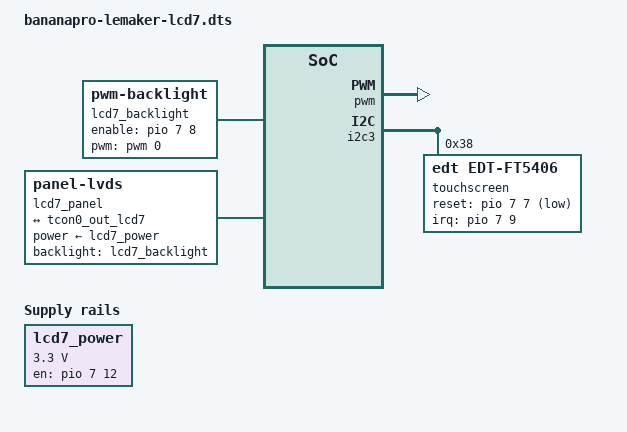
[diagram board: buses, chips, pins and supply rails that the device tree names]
// SPDX-License-Identifier: GPL-2.0
/*
 * Nakladka Device Tree: LeMaker 7" LVDS 1024x600 + dotyk FT5x06
 * Plyta: LeMaker Banana Pro (Allwinner A20), jadro mainline (Armbian current/edge)
 *
 * Zrodlo parametrow: fex/banana_pro_7lcd.fex z LeMaker/fex_configuration
 *
 * Instalacja na Armbian:
 *   sudo armbian-add-overlay bananapro-lemaker-lcd7.dts
 *   reboot
 *
 * Status: obraz i dotyk sprawdzone na sprzecie (2026-10-26), dotyk wymaga
 * uslugi lemaker-touch-retry (armbian-build/), opis w README.
 */

/dts-v1/;
/plugin/;

/*
 * CO: liczby zamiast nazw z #include (GPIO_ACTIVE_HIGH itp.).
 * DLACZEGO: armbian-add-overlay kompiluje plik samym dtc, bez preprocesora,
 * wiec #include i makra by sie nie rozwinely.
 *
 * Sciaga:  bank H = 7,  GPIO_ACTIVE_HIGH = 0,  IRQ_TYPE_EDGE_FALLING = 2
 *          PWM: <&pwm kanal okres_ns polaryzacja>, 0 = normalna
 */

&{/} {
	/*
	 * CO: zasilanie matrycy, w fex: lcd_power = PH12.
	 * DLACZEGO: sterownik panelu wlacza zasilanie przez regulator,
	 * nie przez goly pin GPIO, wiec owijamy PH12 w "regulator-fixed".
	 */
	lcd7_power: lcd7-power {
		compatible = "regulator-fixed";
		regulator-name = "lcd7-power";
		regulator-min-microvolt = <3300000>;
		regulator-max-microvolt = <3300000>;
		gpio = <&pio 7 12 0>;		/* PH12 */
		enable-active-high;
	};

	/*
	 * CO: podswietlenie, PWM0 na PB2 + pin wlaczajacy PH8 (lcd_bl_en w fex).
	 * DLACZEGO okres 50000 ns (20 kHz): fex mial 22 kHz, roznica jest
	 * niezauwazalna, a 20 kHz to typowa i pewna wartosc dla sun4i-pwm.
	 * Jesli podswietlenie dziala "odwrotnie" (0 = najjasniej),
	 * zmien ostatnia liczbe w pwms z 0 na 1.
	 */
	lcd7_backlight: lcd7-backlight {
		compatible = "pwm-backlight";
		pwms = <&pwm 0 50000 0>;
		brightness-levels = <0 255>;
		num-interpolated-steps = <255>;
		default-brightness-level = <200>;
		enable-gpios = <&pio 7 8 0>;	/* PH8 */
	};

	/*
	 * CO: opis matrycy LVDS z timingami przeliczonymi z fex.
	 * DLACZEGO "panel-lvds": sterownik TCON w A20 wlacza tryb LVDS
	 * tylko wtedy, gdy podlaczony panel ma wlasnie ten compatible.
	 * Z kazdym innym probuje wyjscia rownoleglego RGB.
	 */
	lcd7_panel: lcd7-panel {
		compatible = "panel-lvds";
		width-mm = <154>;
		height-mm = <86>;
		/* fex: lcd_lvds_mode = 0 (tryb NS = VESA), lcd_lvds_bitwidth = 0 (24 bit) */
		data-mapping = "vesa-24";
		power-supply = <&lcd7_power>;
		backlight = <&lcd7_backlight>;

		/*
		 * CO: timingi obrazu.
		 * DLACZEGO takie liczby: w fex "hbp" i "vbp" zawieraja juz szerokosc
		 * impulsu sync, a "vt" jest podwojone (stara konwencja Allwinnera).
		 *   hback = hbp - hspw = 150 - 50 = 100
		 *   hfront = ht - x - hbp = 1344 - 1024 - 150 = 170
		 *   vt = 1270 / 2 = 635
		 *   vback = vbp - vspw = 20 - 10 = 10
		 *   vfront = 635 - 600 - 20 = 15
		 * Wynik ~64 Hz, zgodny z konfiguracja U-Boot z forum Armbian.
		 */
		panel-timing {
			clock-frequency = <55000000>;
			hactive = <1024>;
			vactive = <600>;
			hfront-porch = <170>;
			hback-porch = <100>;
			hsync-len = <50>;
			vfront-porch = <15>;
			vback-porch = <10>;
			vsync-len = <10>;
		};

		port {
			lcd7_panel_in: endpoint {
				remote-endpoint = <&tcon0_out_lcd7>;
			};
		};
	};
};

/*
 * CO: piny PD0-PD9 w trybie LVDS0 dla kontrolera TCON0.
 * DLACZEGO: grupa "lcd_lvds0_pins" juz istnieje w sun7i-a20.dtsi,
 * wystarczy ja przypisac (w fex to byly piny PD00-PD09 z funkcja <3>).
 */
&tcon0 {
	pinctrl-names = "default";
	pinctrl-0 = <&lcd_lvds0_pins>;
};

/*
 * CO: polaczenie TCON0 -> panel.
 * DLACZEGO endpoint@0: sterownik szuka panelu dokladnie na porcie 1,
 * endpoincie 0. Endpoint@1 jest zajety przez HDMI w pliku bazowym.
 */
&tcon0_out {
	#address-cells = <1>;
	#size-cells = <0>;

	tcon0_out_lcd7: endpoint@0 {
		reg = <0>;
		remote-endpoint = <&lcd7_panel_in>;
	};
};

/* CO: wlaczenie kontrolera PWM i przypisanie pinu PB2 do kanalu 0. */
&pwm {
	pinctrl-names = "default";
	pinctrl-0 = <&pwm0_pin>;
	status = "okay";
};

/*
 * CO: dotyk pojemnosciowy FocalTech na I2C3 (piny PI0/PI1 na zlaczu LCD).
 * Z fex: ctp_twi_id = 3, adres 0x38, przerwanie PH9, wybudzanie PH7.
 * DLACZEGO "edt,edt-ft5406": mainline obsluguje uklady FT5x06 sterownikiem
 * edt-ft5x06, ktory zastapil stary sterownik "ft5x_ts" z jadra 3.4.
 * UWAGA: w Armbian ten sterownik nie jest domyslnie wkompilowany
 * (CONFIG_TOUCHSCREEN_EDT_FT5X06), trzeba go dobudowac jako modul.
 */
&i2c3 {
	pinctrl-names = "default";
	pinctrl-0 = <&i2c3_pins>;
	status = "okay";
	#address-cells = <1>;
	#size-cells = <0>;

	touchscreen@38 {
		compatible = "edt,edt-ft5406";
		reg = <0x38>;
		interrupt-parent = <&pio>;
		interrupts = <7 9 2>;		/* PH9, zbocze opadajace */
		/*
		 * CO: PH7 to linia RESET ukladu dotyku (w fex: ctp_wakeup), aktywna nisko.
		 * DLACZEGO reset-gpios, a nie wake-gpios: przy wake-gpios sterownik
		 * czeka po wlaczeniu tylko 5 ms i uklad jeszcze nie odpowiada na I2C
		 * (blad "touchscreen probe failed", sprawdzone na 7"). Przy reset-gpios
		 * czeka 300 ms, tyle ile uklad FocalTech potrzebuje na start.
		 * Ostatnia liczba 1 = GPIO_ACTIVE_LOW.
		 */
		reset-gpios = <&pio 7 7 1>;	/* PH7 */
		touchscreen-size-x = <1024>;
		touchscreen-size-y = <600>;
	};
};
